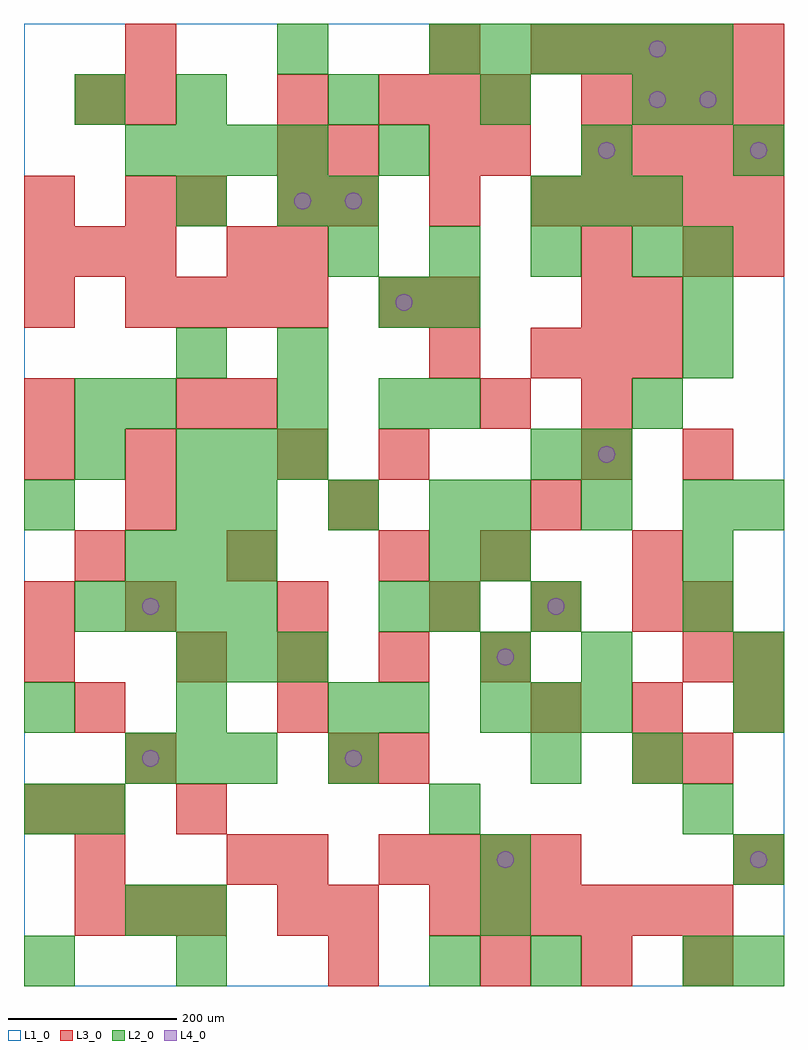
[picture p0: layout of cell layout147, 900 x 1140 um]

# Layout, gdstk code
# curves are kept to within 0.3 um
import gdstk
lib = gdstk.Library(unit=1e-6, precision=1e-09)
def R(c, l, rs):  # rectangles x0, y0, x1, y1
    for r in rs: c.add(gdstk.rectangle(r[:2], r[2:], *l))
def A(c, l, x, y, w, h, nx, ny, dx, dy):  # array of equal rectangles
    R(c, l, [(x+i*dx, y+j*dy, x+i*dx+w, y+j*dy+h) for i in range(nx) for j in range(ny)])
def P(c, l, *ps):  # polygons
    for p in ps: c.add(gdstk.Polygon(p, *l))
L1_0 = (1, 0)
L2_0 = (2, 0)
L3_0 = (3, 0)
L4_0 = (4, 0)

layout147 = lib.new_cell('layout147')
R(layout147, L1_0, [(0,0,900,1140)])
A(layout147, L2_0, 120, 240, 60, 60, 3, 2, 60, 240)
A(layout147, L2_0, 600, 240, 60, 60, 1, 3, 0, 180)
A(layout147, L2_0, 0, 300, 60, 60, 3, 1, 180, 0)
A(layout147, L2_0, 540, 300, 60, 60, 3, 1, 60, 0)
A(layout147, L2_0, 180, 360, 60, 60, 3, 2, 60, 240)
A(layout147, L2_0, 60, 420, 60, 60, 4, 1, 60, 0)
A(layout147, L2_0, 180, 540, 60, 60, 1, 3, 0, 180)
A(layout147, L2_0, 240, 540, 60, 60, 3, 1, 120, 0)
A(layout147, L2_0, 540, 540, 60, 60, 3, 1, 120, 0)
A(layout147, L2_0, 300, 720, 60, 60, 1, 3, 0, 180)
A(layout147, L2_0, 780, 720, 60, 60, 1, 3, 0, 60)
A(layout147, L2_0, 360, 840, 60, 60, 4, 1, 120, 0)
A(layout147, L2_0, 600, 900, 60, 60, 3, 1, 60, 0)
A(layout147, L2_0, 120, 960, 60, 60, 4, 1, 60, 0)
A(layout147, L2_0, 180, 1020, 60, 60, 4, 1, 180, 0)
A(layout147, L2_0, 480, 1080, 60, 60, 6, 1, 60, 0)
R(layout147, L2_0, [(0,0,60,60), (180,0,240,60), (480,0,540,60), (600,0,660,60), (780,0,840,60), (840,0,900,60), (120,60,180,120), (180,60,240,120), (540,60,600,120), (540,120,600,180), (840,120,900,180), (0,180,60,240), (60,180,120,240), (480,180,540,240), (780,180,840,240), (360,240,420,300), (720,240,780,300), (420,300,480,360), (840,300,900,360), (540,360,600,420), (660,360,720,420), (840,360,900,420), (420,420,480,480), (480,420,540,480), (780,420,840,480), (480,480,540,540), (540,480,600,540), (780,480,840,540), (0,540,60,600), (840,540,900,600), (60,600,120,660), (660,600,720,660), (60,660,120,720), (120,660,180,720), (300,660,360,720), (420,660,480,720), (480,660,540,720), (720,660,780,720), (420,780,480,840), (480,780,540,840), (360,900,420,960), (420,960,480,1020), (660,960,720,1020), (840,960,900,1020), (60,1020,120,1080), (780,1020,840,1080)])
A(layout147, L3_0, 540, 0, 60, 60, 3, 1, 120, 0)
A(layout147, L3_0, 60, 60, 60, 60, 3, 1, 60, 0)
A(layout147, L3_0, 480, 60, 60, 60, 6, 1, 60, 0)
A(layout147, L3_0, 420, 120, 60, 60, 4, 1, 60, 0)
A(layout147, L3_0, 600, 300, 60, 60, 3, 1, 120, 0)
A(layout147, L3_0, 180, 360, 60, 60, 4, 1, 120, 0)
A(layout147, L3_0, 120, 420, 60, 60, 3, 1, 180, 0)
A(layout147, L3_0, 60, 480, 60, 60, 3, 1, 180, 0)
A(layout147, L3_0, 120, 540, 60, 60, 3, 1, 240, 0)
A(layout147, L3_0, 0, 660, 60, 60, 1, 3, 0, 120)
A(layout147, L3_0, 600, 720, 60, 60, 3, 1, 60, 0)
A(layout147, L3_0, 120, 780, 60, 60, 4, 1, 60, 0)
A(layout147, L3_0, 0, 840, 60, 60, 3, 1, 60, 0)
A(layout147, L3_0, 300, 840, 60, 60, 1, 4, 0, 60)
A(layout147, L3_0, 360, 900, 60, 60, 3, 1, 120, 0)
A(layout147, L3_0, 660, 900, 60, 60, 4, 3, 60, 60)
A(layout147, L3_0, 420, 1020, 60, 60, 3, 1, 60, 0)
A(layout147, L3_0, 600, 1080, 60, 60, 5, 1, 60, 0)
R(layout147, L3_0, [(360,0,420,60), (300,60,360,120), (360,60,420,120), (60,120,120,180), (240,120,300,180), (300,120,360,180), (840,120,900,180), (0,180,60,240), (60,180,120,240), (180,180,240,240), (120,240,180,300), (360,240,420,300), (420,240,480,300), (720,240,780,300), (780,240,840,300), (60,300,120,360), (300,300,360,360), (0,360,60,420), (780,360,840,420), (840,360,900,420), (0,420,60,480), (600,420,660,480), (720,420,780,480), (780,420,840,480), (540,480,600,540), (720,480,780,540), (0,600,60,660), (120,600,180,660), (300,600,360,660), (420,600,480,660), (660,600,720,660), (780,600,840,660), (180,660,240,720), (240,660,300,720), (540,660,600,720), (660,660,720,720), (480,720,540,780), (420,780,480,840), (480,780,540,840), (660,780,720,840), (720,780,780,840), (240,840,300,900), (660,840,720,900), (780,840,840,900), (840,840,900,900), (120,900,180,960), (180,900,240,960), (360,960,420,1020), (480,960,540,1020), (540,960,600,1020), (60,1020,120,1080), (120,1020,180,1080), (120,1080,180,1140), (480,1080,540,1140)])
P(layout147, L4_0, [(160,270),(159.239,273.827),(157.071,277.071),(153.827,279.239),(150,280),(146.173,279.239),(142.929,277.071),(140.761,273.827),(140,270),(140.761,266.173),(142.929,262.929),(146.173,260.761),(150,260),(153.827,260.761),(157.071,262.929),(159.239,266.173)],
  [(160,450),(159.239,453.827),(157.071,457.071),(153.827,459.239),(150,460),(146.173,459.239),(142.929,457.071),(140.761,453.827),(140,450),(140.761,446.173),(142.929,442.929),(146.173,440.761),(150,440),(153.827,440.761),(157.071,442.929),(159.239,446.173)],
  [(340,930),(339.239,933.827),(337.071,937.071),(333.827,939.239),(330,940),(326.173,939.239),(322.929,937.071),(320.761,933.827),(320,930),(320.761,926.173),(322.929,922.929),(326.173,920.761),(330,920),(333.827,920.761),(337.071,922.929),(339.239,926.173)],
  [(400,270),(399.239,273.827),(397.071,277.071),(393.827,279.239),(390,280),(386.173,279.239),(382.929,277.071),(380.761,273.827),(380,270),(380.761,266.173),(382.929,262.929),(386.173,260.761),(390,260),(393.827,260.761),(397.071,262.929),(399.239,266.173)],
  [(400,930),(399.239,933.827),(397.071,937.071),(393.827,939.239),(390,940),(386.173,939.239),(382.929,937.071),(380.761,933.827),(380,930),(380.761,926.173),(382.929,922.929),(386.173,920.761),(390,920),(393.827,920.761),(397.071,922.929),(399.239,926.173)],
  [(460,810),(459.239,813.827),(457.071,817.071),(453.827,819.239),(450,820),(446.173,819.239),(442.929,817.071),(440.761,813.827),(440,810),(440.761,806.173),(442.929,802.929),(446.173,800.761),(450,800),(453.827,800.761),(457.071,802.929),(459.239,806.173)],
  [(580,150),(579.239,153.827),(577.071,157.071),(573.827,159.239),(570,160),(566.173,159.239),(562.929,157.071),(560.761,153.827),(560,150),(560.761,146.173),(562.929,142.929),(566.173,140.761),(570,140),(573.827,140.761),(577.071,142.929),(579.239,146.173)],
  [(580,390),(579.239,393.827),(577.071,397.071),(573.827,399.239),(570,400),(566.173,399.239),(562.929,397.071),(560.761,393.827),(560,390),(560.761,386.173),(562.929,382.929),(566.173,380.761),(570,380),(573.827,380.761),(577.071,382.929),(579.239,386.173)],
  [(640,450),(639.239,453.827),(637.071,457.071),(633.827,459.239),(630,460),(626.173,459.239),(622.929,457.071),(620.761,453.827),(620,450),(620.761,446.173),(622.929,442.929),(626.173,440.761),(630,440),(633.827,440.761),(637.071,442.929),(639.239,446.173)],
  [(700,630),(699.239,633.827),(697.071,637.071),(693.827,639.239),(690,640),(686.173,639.239),(682.929,637.071),(680.761,633.827),(680,630),(680.761,626.173),(682.929,622.929),(686.173,620.761),(690,620),(693.827,620.761),(697.071,622.929),(699.239,626.173)],
  [(700,990),(699.239,993.827),(697.071,997.071),(693.827,999.239),(690,1000),(686.173,999.239),(682.929,997.071),(680.761,993.827),(680,990),(680.761,986.173),(682.929,982.929),(686.173,980.761),(690,980),(693.827,980.761),(697.071,982.929),(699.239,986.173)],
  [(760,1050),(759.239,1053.827),(757.071,1057.071),(753.827,1059.239),(750,1060),(746.173,1059.239),(742.929,1057.071),(740.761,1053.827),(740,1050),(740.761,1046.173),(742.929,1042.929),(746.173,1040.761),(750,1040),(753.827,1040.761),(757.071,1042.929),(759.239,1046.173)],
  [(760,1110),(759.239,1113.827),(757.071,1117.071),(753.827,1119.239),(750,1120),(746.173,1119.239),(742.929,1117.071),(740.761,1113.827),(740,1110),(740.761,1106.173),(742.929,1102.929),(746.173,1100.761),(750,1100),(753.827,1100.761),(757.071,1102.929),(759.239,1106.173)],
  [(820,1050),(819.239,1053.827),(817.071,1057.071),(813.827,1059.239),(810,1060),(806.173,1059.239),(802.929,1057.071),(800.761,1053.827),(800,1050),(800.761,1046.173),(802.929,1042.929),(806.173,1040.761),(810,1040),(813.827,1040.761),(817.071,1042.929),(819.239,1046.173)],
  [(880,150),(879.239,153.827),(877.071,157.071),(873.827,159.239),(870,160),(866.173,159.239),(862.929,157.071),(860.761,153.827),(860,150),(860.761,146.173),(862.929,142.929),(866.173,140.761),(870,140),(873.827,140.761),(877.071,142.929),(879.239,146.173)],
  [(880,990),(879.239,993.827),(877.071,997.071),(873.827,999.239),(870,1000),(866.173,999.239),(862.929,997.071),(860.761,993.827),(860,990),(860.761,986.173),(862.929,982.929),(866.173,980.761),(870,980),(873.827,980.761),(877.071,982.929),(879.239,986.173)])

lib.write_gds('layout147.gds')
